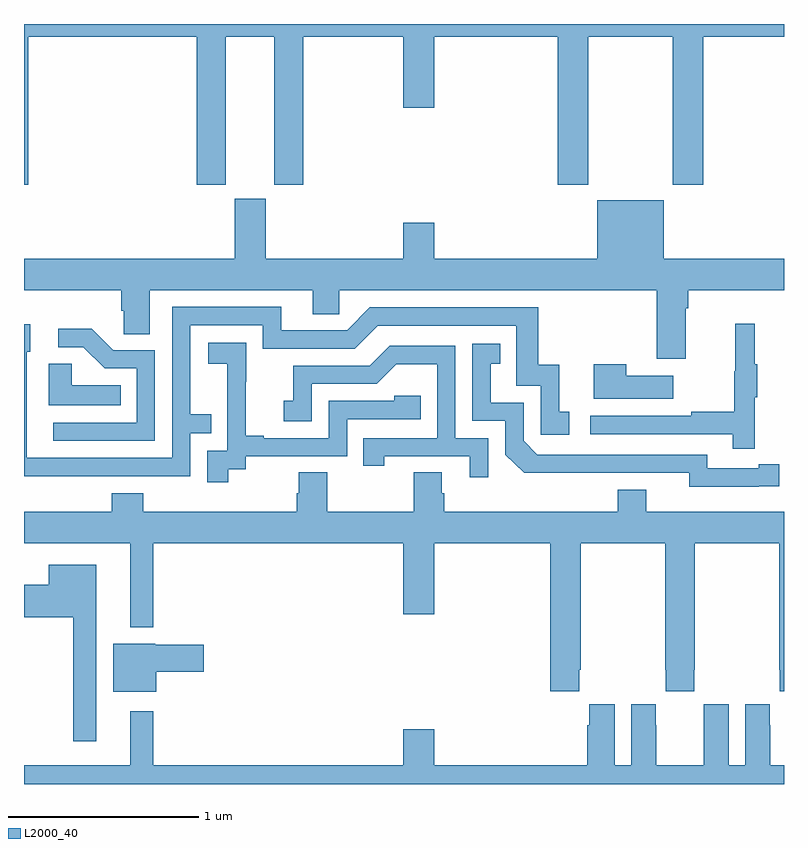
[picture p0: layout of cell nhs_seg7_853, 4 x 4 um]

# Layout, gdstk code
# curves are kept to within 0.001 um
import gdstk
lib = gdstk.Library(unit=1e-6, precision=1e-09)
def P(c, l, *ps):  # polygons
    for p in ps: c.add(gdstk.Polygon(p, *l))
L2000_40 = (2000, 40)

nhs_seg7_853 = lib.new_cell('nhs_seg7_853')
P(nhs_seg7_853, L2000_40, [(175.022,1017.932),(175.91,1017.932),(175.91,1017.153),(176.062,1017.153),(176.062,1017.932),(176.318,1017.932),(176.318,1017.153),(176.471,1017.153),(176.471,1017.932),(176.996,1017.932),(176.996,1017.558),(177.16,1017.558),(177.16,1017.932),(177.809,1017.932),(177.809,1017.153),(177.969,1017.153),(177.969,1017.932),(178.414,1017.932),(178.414,1017.153),(178.574,1017.153),(178.574,1017.932),(179,1017.932),(179,1018),(175,1018),(175,1017.153),(175.022,1017.153)],
  [(178.016,1016.764),(177.16,1016.764),(177.16,1016.953),(176.996,1016.953),(176.996,1016.764),(176.272,1016.764),(176.272,1017.081),(176.108,1017.081),(176.108,1016.764),(175,1016.764),(175,1016.6),(175.511,1016.6),(175.511,1016.491),(175.524,1016.491),(175.524,1016.368),(175.663,1016.368),(175.663,1016.6),(176.519,1016.6),(176.519,1016.473),(176.658,1016.473),(176.658,1016.6),(178.331,1016.6),(178.331,1016.238),(178.483,1016.238),(178.483,1016.504),(178.496,1016.504),(178.496,1016.6),(179,1016.6),(179,1016.764),(178.366,1016.764),(178.366,1017.073),(178.016,1017.073)],
  [(175.379,1015.62),(175.875,1015.62),(175.875,1015.845),(175.985,1015.845),(175.985,1015.946),(175.875,1015.946),(175.875,1016.415),(176.256,1016.415),(176.256,1016.292),(176.742,1016.292),(176.862,1016.412),(177.591,1016.412),(177.591,1016.097),(177.72,1016.097),(177.72,1015.839),(177.871,1015.839),(177.871,1015.959),(177.818,1015.959),(177.818,1016.206),(177.707,1016.206),(177.707,1016.508),(176.82,1016.508),(176.7,1016.388),(176.353,1016.388),(176.353,1016.511),(175.779,1016.511),(175.779,1015.716),(175.014,1015.716),(175.014,1016.274),(175.033,1016.274),(175.033,1016.419),(175,1016.419),(175,1015.619)],
  [(178.847,1016.035),(178.858,1016.035),(178.858,1016.209),(178.847,1016.209),(178.847,1016.422),(178.744,1016.422),(178.744,1016.172),(178.737,1016.172),(178.737,1015.958),(178.513,1015.958),(178.513,1015.938),(177.981,1015.938),(177.981,1015.842),(178.729,1015.842),(178.729,1015.764),(178.847,1015.764)],
  [(175.689,1016.283),(175.47,1016.283),(175.357,1016.396),(175.179,1016.396),(175.179,1016.298),(175.313,1016.298),(175.424,1016.187),(175.593,1016.187),(175.593,1015.902),(175.155,1015.902),(175.155,1015.806),(175.689,1015.806)],
  [(176.074,1015.657),(176.166,1015.657),(176.166,1015.725),(176.7,1015.725),(176.7,1015.92),(177.089,1015.92),(177.089,1016.043),(176.949,1016.043),(176.949,1016.016),(176.604,1016.016),(176.604,1015.821),(176.263,1015.821),(176.263,1015.834),(176.168,1015.834),(176.168,1016.117),(176.169,1016.117),(176.169,1016.323),(175.971,1016.323),(175.971,1016.213),(176.069,1016.213),(176.069,1015.985),(176.07,1015.985),(176.07,1015.755),(175.965,1015.755),(175.965,1015.587),(176.074,1015.587)],
  [(178.868,1015.566),(178.976,1015.566),(178.976,1015.682),(178.868,1015.682),(178.868,1015.662),(178.596,1015.662),(178.596,1015.734),(177.702,1015.734),(177.63,1015.806),(177.63,1016.007),(177.457,1016.007),(177.457,1016.211),(177.506,1016.211),(177.506,1016.317),(177.36,1016.317),(177.36,1015.911),(177.534,1015.911),(177.534,1015.734),(177.632,1015.637),(178.5,1015.638),(178.5,1015.565)],
  [(177.444,1015.821),(177.27,1015.821),(177.27,1016.307),(176.924,1016.307),(176.819,1016.202),(176.416,1016.202),(176.416,1016.017),(176.367,1016.017),(176.367,1015.908),(176.514,1015.908),(176.514,1016.106),(176.856,1016.106),(176.96,1016.21),(177.174,1016.21),(177.174,1015.821),(176.785,1015.821),(176.785,1015.674),(176.896,1015.674),(176.896,1015.725),(177.347,1015.725),(177.347,1015.614),(177.444,1015.614)],
  [(175.508,1016.098),(175.251,1016.098),(175.251,1016.213),(175.13,1016.213),(175.13,1015.994),(175.508,1015.994)],
  [(178.417,1016.149),(178.169,1016.149),(178.169,1016.209),(177.998,1016.209),(177.998,1016.027),(178.417,1016.027)],
  [(177.923,1014.601),(177.93,1014.601),(177.93,1015.268),(178.375,1015.268),(178.375,1014.601),(178.377,1014.601),(178.377,1014.489),(178.527,1014.489),(178.527,1014.601),(178.53,1014.601),(178.53,1015.268),(178.975,1015.268),(178.975,1014.601),(178.977,1014.601),(178.977,1014.489),(179,1014.489),(179,1015.432),(178.276,1015.432),(178.276,1015.549),(178.124,1015.549),(178.124,1015.432),(177.212,1015.432),(177.212,1015.53),(177.199,1015.53),(177.199,1015.64),(177.052,1015.64),(177.052,1015.432),(176.595,1015.432),(176.595,1015.64),(176.447,1015.64),(176.447,1015.53),(176.435,1015.53),(176.435,1015.432),(175.628,1015.432),(175.628,1015.531),(175.463,1015.531),(175.463,1015.432),(175,1015.432),(175,1015.268),(175.559,1015.268),(175.559,1014.824),(175.681,1014.824),(175.681,1015.268),(176.996,1015.268),(176.996,1014.894),(177.16,1014.894),(177.16,1015.268),(177.77,1015.268),(177.77,1014.489),(177.923,1014.489)],
  [(175.381,1015.153),(175.13,1015.153),(175.13,1015.048),(175,1015.048),(175,1014.878),(175.26,1014.878),(175.26,1014.225),(175.381,1014.225)],
  [(175.696,1014.592),(175.945,1014.592),(175.945,1014.734),(175.692,1014.734),(175.692,1014.739),(175.469,1014.739),(175.469,1014.485),(175.696,1014.485)],
  [(179,1014.1),(178.927,1014.1),(178.927,1014.308),(178.926,1014.308),(178.926,1014.421),(178.796,1014.421),(178.796,1014.1),(178.708,1014.1),(178.708,1014.421),(178.578,1014.421),(178.578,1014.308),(178.577,1014.308),(178.577,1014.1),(178.327,1014.1),(178.327,1014.308),(178.326,1014.308),(178.326,1014.421),(178.196,1014.421),(178.196,1014.1),(178.108,1014.1),(178.108,1014.421),(177.974,1014.421),(177.974,1014.308),(177.965,1014.308),(177.965,1014.1),(177.16,1014.1),(177.16,1014.289),(176.996,1014.289),(176.996,1014.1),(175.681,1014.1),(175.681,1014.382),(175.559,1014.382),(175.559,1014.1),(175,1014.1),(175,1014),(179,1014)])

lib.write_gds('nhs_seg7_853.gds')
